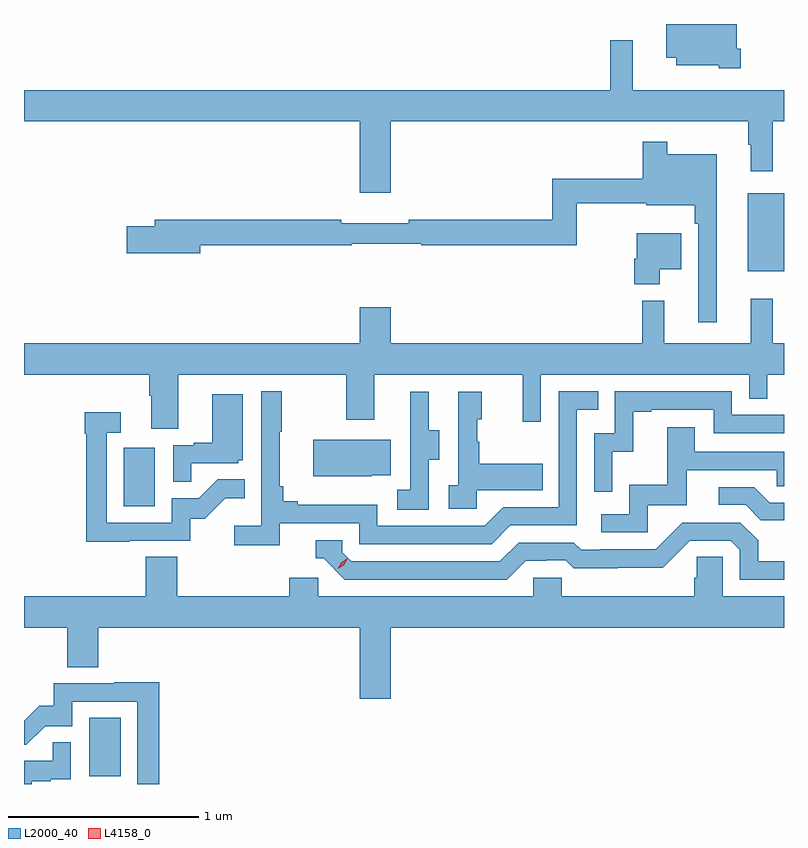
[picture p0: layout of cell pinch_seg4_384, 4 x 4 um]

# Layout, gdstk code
import gdstk
lib = gdstk.Library(unit=1e-6, precision=1e-09)
def R(c, l, rs):  # rectangles x0, y0, x1, y1
    for r in rs: c.add(gdstk.rectangle(r[:2], r[2:], *l))
def P(c, l, *ps):  # polygons
    for p in ps: c.add(gdstk.Polygon(p, *l))
L2000_40 = (2000, 40)
L4158_0 = (4158, 0)

pinch_seg4_384 = lib.new_cell('pinch_seg4_384')
R(pinch_seg4_384, L2000_40, [(990.758,788.046,990.922,788.353), (990.938,789.468,991.102,789.775), (994.223,790.703,994.414,791.113)])
P(pinch_seg4_384, L2000_40, [(994.187,791.875),(994.165,791.875),(994.165,792.005),(993.794,792.005),(993.794,791.828),(993.848,791.828),(993.848,791.789),(994.071,791.789),(994.071,791.771),(994.187,791.771)],
  [(992.344,791.492),(994.227,791.492),(994.227,791.369),(994.238,791.369),(994.238,791.229),(994.355,791.229),(994.355,791.492),(994.414,791.492),(994.414,791.656),(993.618,791.656),(993.618,791.92),(993.499,791.92),(993.499,791.656),(990.414,791.656),(990.414,791.492),(992.18,791.492),(992.18,791.118),(992.344,791.118)],
  [(994.06,791.32),(993.799,791.32),(993.799,791.386),(993.67,791.386),(993.67,791.191),(993.193,791.191),(993.193,790.976),(992.44,790.976),(992.44,790.957),(992.084,790.957),(992.084,790.976),(991.103,790.976),(991.103,790.94),(990.954,790.94),(990.954,790.798),(991.342,790.798),(991.342,790.84),(992.138,790.84),(992.138,790.848),(992.506,790.848),(992.506,790.84),(993.322,790.84),(993.322,791.062),(993.689,791.062),(993.689,791.051),(993.943,791.051),(993.943,790.955),(993.963,790.955),(993.963,790.434),(994.06,790.434)],
  [(993.76,790.715),(993.874,790.715),(993.874,790.903),(993.638,790.903),(993.638,790.77),(993.626,790.77),(993.626,790.634),(993.76,790.634)],
  [(991.225,790.16),(992.11,790.16),(992.11,789.921),(992.257,789.921),(992.257,790.16),(993.038,790.16),(993.038,789.912),(993.135,789.912),(993.135,790.16),(994.23,790.16),(994.23,790.033),(994.326,790.033),(994.326,790.16),(994.414,790.16),(994.414,790.324),(994.355,790.324),(994.355,790.558),(994.238,790.558),(994.238,790.324),(993.785,790.324),(993.785,790.549),(993.667,790.549),(993.667,790.324),(992.344,790.324),(992.344,790.513),(992.18,790.513),(992.18,790.324),(990.414,790.324),(990.414,790.16),(991.073,790.16),(991.073,790.048),(991.085,790.048),(991.085,789.874),(991.225,789.874)],
  [(991.76,789.378),(992.178,789.378),(992.178,789.267),(992.875,789.267),(992.974,789.366),(993.324,789.366),(993.324,789.975),(993.437,789.975),(993.437,790.071),(993.228,790.071),(993.228,789.462),(992.937,789.462),(992.838,789.363),(992.274,789.363),(992.274,789.475),(991.855,789.475),(991.855,789.494),(991.778,789.494),(991.778,789.571),(991.759,789.571),(991.759,789.859),(991.771,789.859),(991.771,790.072),(991.662,790.072),(991.662,789.364),(991.521,789.364),(991.521,789.262),(991.76,789.262)],
  [(993.51,789.755),(993.62,789.755),(993.62,789.963),(993.715,789.963),(993.715,789.975),(994.044,789.975),(994.044,789.852),(994.414,789.852),(994.414,789.948),(994.14,789.948),(994.14,790.071),(993.522,790.071),(993.522,789.852),(993.414,789.852),(993.414,789.543),(993.51,789.543)],
  [(992.544,789.712),(992.599,789.712),(992.599,789.867),(992.545,789.867),(992.545,790.069),(992.447,790.069),(992.447,789.855),(992.448,789.855),(992.448,789.555),(992.379,789.555),(992.379,789.448),(992.544,789.448)],
  [(992.796,789.551),(993.143,789.551),(993.143,789.691),(992.809,789.691),(992.809,789.806),(992.799,789.806),(992.799,789.924),(992.824,789.924),(992.824,790.069),(992.7,790.069),(992.7,789.578),(992.649,789.578),(992.649,789.453),(992.796,789.453)],
  [(991.295,789.693),(991.542,789.693),(991.542,789.708),(991.564,789.708),(991.564,790.057),(991.406,790.057),(991.406,789.802),(991.307,789.802),(991.307,789.789),(991.2,789.789),(991.2,789.595),(991.295,789.595)],
  [(990.971,789.285),(991.29,789.285),(991.29,789.402),(991.366,789.402),(991.473,789.509),(991.577,789.509),(991.577,789.608),(991.433,789.608),(991.335,789.51),(991.191,789.51),(991.191,789.381),(990.849,789.381),(990.849,789.855),(990.922,789.855),(990.922,789.961),(990.733,789.961),(990.733,789.848),(990.741,789.848),(990.741,789.28),(990.971,789.28)],
  [(993.696,789.471),(993.901,789.471),(993.901,789.657),(994.375,789.657),(994.375,789.573),(994.414,789.573),(994.414,789.753),(993.943,789.753),(993.943,789.883),(993.799,789.883),(993.799,789.58),(993.6,789.58),(993.6,789.426),(993.453,789.426),(993.453,789.33),(993.696,789.33)],
  [(992.243,789.629),(992.345,789.629),(992.345,789.817),(991.937,789.817),(991.937,789.626),(992.243,789.626)],
  [(994.414,789.486),(994.339,789.486),(994.258,789.567),(994.071,789.567),(994.071,789.474),(994.212,789.474),(994.292,789.394),(994.414,789.394)],
  [(993.055,789.18),(993.162,789.18),(993.162,789.183),(993.265,789.183),(993.307,789.141),(993.54,789.141),(993.54,789.143),(993.776,789.143),(993.918,789.285),(994.134,789.285),(994.182,789.237),(994.182,789.081),(994.414,789.081),(994.414,789.177),(994.279,789.177),(994.279,789.287),(994.185,789.381),(993.879,789.381),(993.738,789.24),(993.445,789.24),(993.445,789.237),(993.346,789.237),(993.307,789.276),(993.018,789.276),(992.919,789.177),(992.136,789.177),(992.088,789.225),(992.088,789.288),(991.949,789.288),(991.949,789.192),(991.992,789.192),(992.103,789.081),(992.956,789.081)],
  [(992.344,788.828),(994.414,788.828),(994.414,788.992),(994.092,788.992),(994.092,789.2),(993.955,789.2),(993.955,789.09),(993.941,789.09),(993.941,788.992),(993.243,788.992),(993.243,789.09),(993.093,789.09),(993.093,788.992),(991.962,788.992),(991.962,789.09),(991.811,789.09),(991.811,788.992),(991.22,788.992),(991.22,789.2),(991.055,789.2),(991.055,788.992),(990.414,788.992),(990.414,788.828),(990.641,788.828),(990.641,788.62),(990.806,788.62),(990.806,788.828),(992.18,788.828),(992.18,788.454),(992.344,788.454)],
  [(991.127,788.54),(990.889,788.54),(990.889,788.535),(990.571,788.535),(990.571,788.418),(990.494,788.418),(990.414,788.338),(990.414,788.212),(990.427,788.212),(990.525,788.31),(990.669,788.31),(990.669,788.439),(991.011,788.439),(991.011,788.005),(991.127,788.005)],
  [(990.454,788.019),(990.554,788.019),(990.554,788.031),(990.66,788.031),(990.66,788.225),(990.565,788.225),(990.565,788.127),(990.414,788.127),(990.414,788.005),(990.454,788.005)])
P(pinch_seg4_384, L4158_0, [(992.066,789.138),(992.066,789.138),(992.083,789.17),(992.113,789.19),(992.114,789.19),(992.114,789.189),(992.097,789.157),(992.066,789.138)])

lib.write_gds('pinch_seg4_384.gds')
